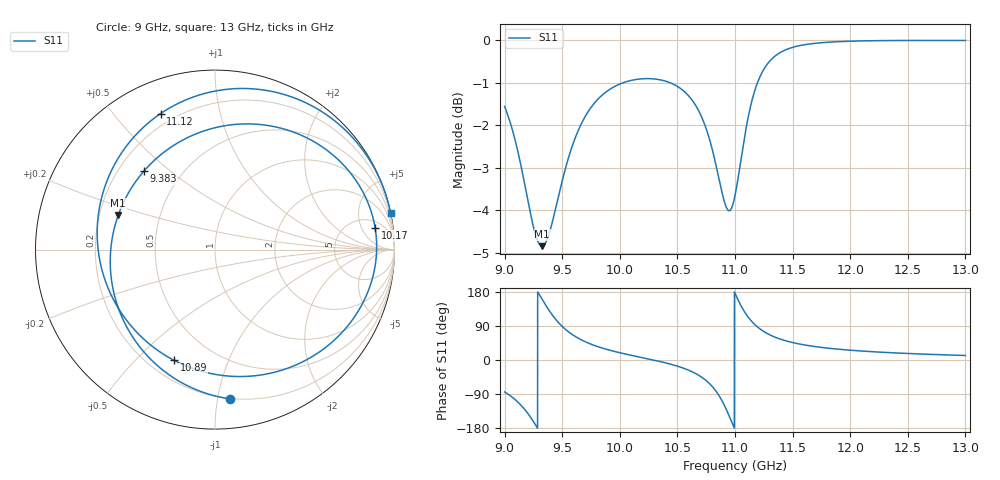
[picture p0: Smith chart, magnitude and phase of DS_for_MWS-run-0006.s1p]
! TOUCHSTONE file generated by CST DESIGN STUDIO
! Date and time: Wed Feb  5 13:36:14 2025
! Project name: C:\Work\MatlabApps\UnitCellOptimizationMatlab\CST\unitcell.cst
! Tree item: Tasks\Sweep1\SPara1\S-Parameters
! Header version: 2024
! Port assignment regex: !\s*Touchstone port\s*([0-9]+)\s*=\s*(CST MWS port|CST DES external port|CST DES block port)\s*(.+)\s* \(\"(.*)\"\)(\s*mode\s*([0-9]+))?.*
! Touchstone port assignment:
! Touchstone port 1 = CST DES external port 1 ("")
# GHz S MA R 50
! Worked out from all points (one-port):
!   4001 points, 9 GHz to 13 GHz, reference 50 ohm
!   lowest |S11| = -4.8 dB at 9.325 GHz (marker M1), VSWR 3.68, Z = 14 + j8 ohm
!   |S11| at or under -10 dB: nowhere
!   S11 on the Smith chart (normalised r, x): 9 GHz: 0.20, -1.08; 9.383 GHz: 0.30, +0.41; 10.17 GHz: 7, +9; 10.89 GHz: 0.30, -0.65; 11.12 GHz: 0.15, +0.67; 13 GHz: 0.03, +9.58
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9  0.8356 -84.3
9.081  0.7724 -101.8
9.153  0.7001 -123.0
9.245  0.6072 -160.0
9.325  0.5723 160.3
9.383  0.59 132.2
9.5  0.683 88.6
9.607  0.7638 63.3
9.716  0.8204 46.0
10  0.8881 19.2
10.172  0.9003 7.7
10.5  0.8824 -16.2
10.626  0.8508 -30.8
10.724  0.8041 -48.2
10.823  0.7246 -77.4
10.892  0.6578 -110.3
10.953  0.63 -150.2
11  0.6564 176.2
11.05  0.7213 144.3
11.118  0.8162 111.8
11.189  0.8866 88.8
11.288  0.9404 68.5
11.383  0.9655 56.2
11.5  0.9809 46.0
11.705  0.9921 35.0
12  0.9974 25.9
12.5  0.9994 17.2
13  0.9994 11.9
